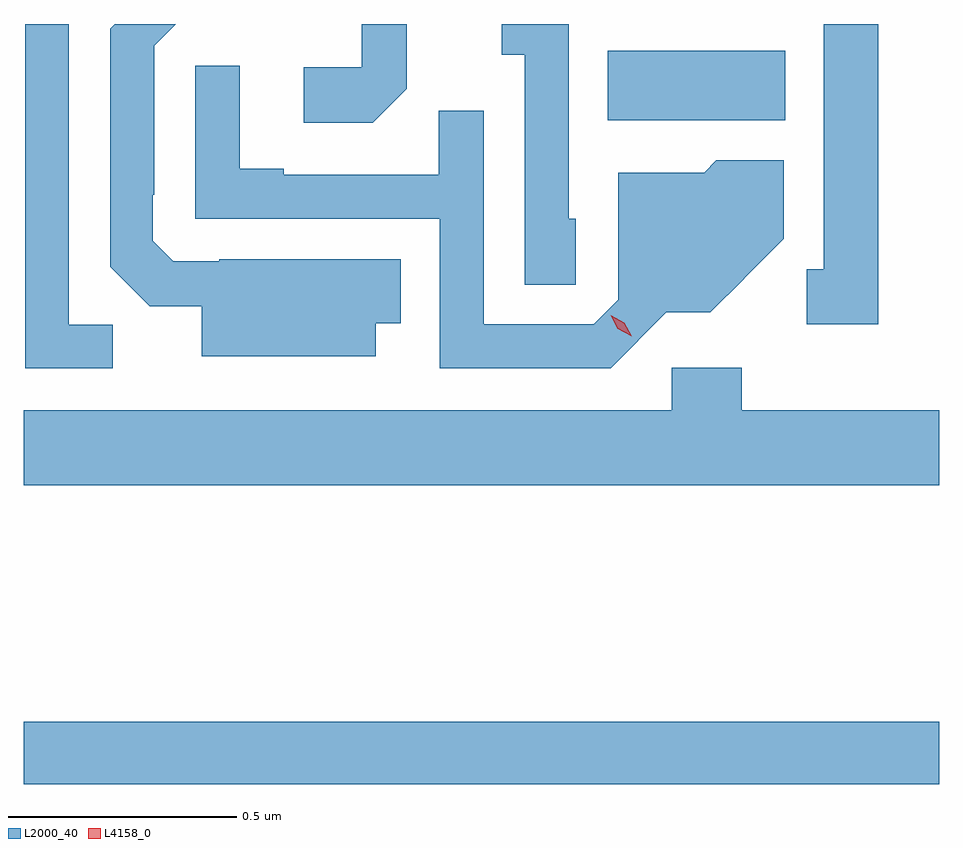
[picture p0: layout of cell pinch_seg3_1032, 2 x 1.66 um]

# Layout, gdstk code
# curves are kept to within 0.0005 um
import gdstk
lib = gdstk.Library(unit=1e-6, precision=1e-09)
def R(c, l, rs):  # rectangles x0, y0, x1, y1
    for r in rs: c.add(gdstk.rectangle(r[:2], r[2:], *l))
def P(c, l, *ps):  # polygons
    for p in ps: c.add(gdstk.Polygon(p, *l))
L2000_40 = (2000, 40)
L4158_0 = (4158, 0)

pinch_seg3_1032 = lib.new_cell('pinch_seg3_1032')
R(pinch_seg3_1032, L2000_40, [(401.826,678.952,403.826,679.088), (403.102,680.402,403.489,680.554)])
P(pinch_seg3_1032, L2000_40, [(402.663,680.471),(402.663,680.612),(402.564,680.612),(402.564,680.517),(402.438,680.517),(402.438,680.396),(402.588,680.396)],
  [(403.693,680.612),(403.574,680.612),(403.574,680.076),(403.536,680.076),(403.536,679.956),(403.693,679.956)],
  [(403.032,680.187),(403.017,680.187),(403.017,680.612),(402.87,680.612),(402.87,680.545),(402.921,680.545),(402.921,680.043),(403.032,680.043)],
  [(402.021,679.955),(401.925,679.955),(401.925,680.612),(401.829,680.612),(401.829,679.86),(402.021,679.86)],
  [(402.595,679.958),(402.65,679.958),(402.65,680.098),(402.253,680.098),(402.253,680.094),(402.153,680.094),(402.108,680.139),(402.108,680.239),(402.111,680.239),(402.111,680.565),(402.158,680.612),(402.025,680.612),(402.015,680.602),(402.015,680.082),(402.101,679.996),(402.215,679.996),(402.215,679.886),(402.595,679.886)],
  [(403.23,679.982),(403.326,679.982),(403.486,680.143),(403.486,680.314),(403.339,680.314),(403.312,680.287),(403.125,680.287),(403.125,680.01),(403.071,679.956),(402.831,679.956),(402.831,680.422),(402.733,680.422),(402.733,680.283),(402.394,680.283),(402.394,680.296),(402.298,680.296),(402.298,680.521),(402.201,680.521),(402.201,680.187),(402.735,680.187),(402.735,679.86),(403.108,679.86)],
  [(403.826,679.768),(403.394,679.768),(403.394,679.861),(403.242,679.861),(403.242,679.768),(401.826,679.768),(401.826,679.604),(403.826,679.604)])
P(pinch_seg3_1032, L4158_0, [(403.154,679.93),(403.124,679.946),(403.108,679.976),(403.108,679.976),(403.108,679.976),(403.138,679.96),(403.154,679.93),(403.154,679.93)])

lib.write_gds('pinch_seg3_1032.gds')
